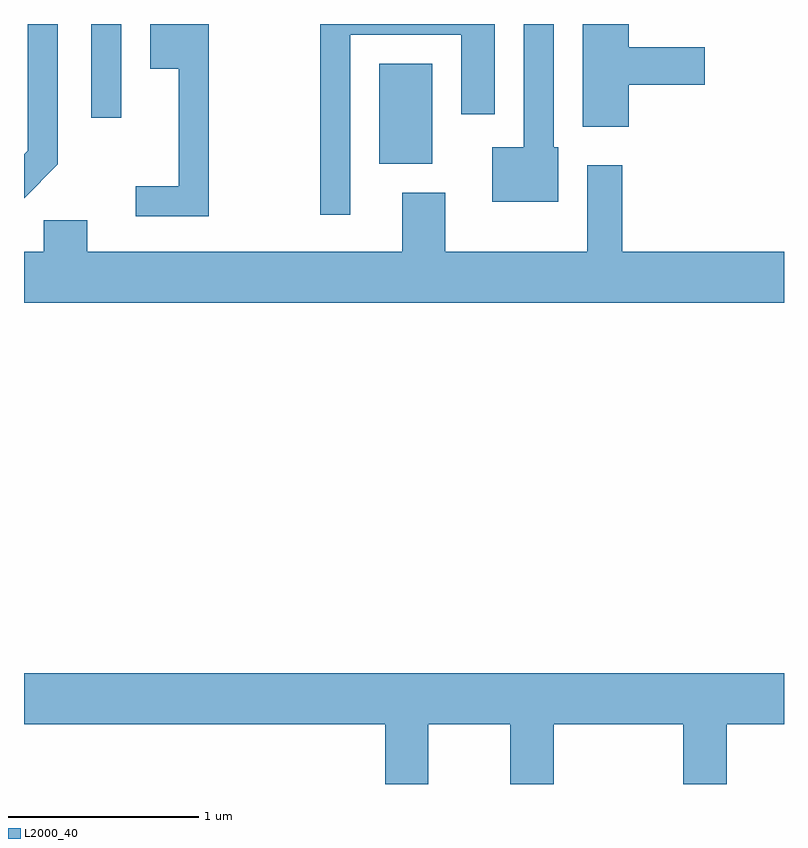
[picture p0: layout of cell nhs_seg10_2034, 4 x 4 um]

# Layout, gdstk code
import gdstk
lib = gdstk.Library(unit=1e-6, precision=1e-09)
def R(c, l, rs):  # rectangles x0, y0, x1, y1
    for r in rs: c.add(gdstk.rectangle(r[:2], r[2:], *l))
def P(c, l, *ps):  # polygons
    for p in ps: c.add(gdstk.Polygon(p, *l))
L2000_40 = (2000, 40)

nhs_seg10_2034 = lib.new_cell('nhs_seg10_2034')
R(nhs_seg10_2034, L2000_40, [(247.481,2085.786,247.759,2086.314), (245.966,2086.028,246.124,2086.522)])
P(nhs_seg10_2034, L2000_40, [(248.794,2086.201),(249.194,2086.201),(249.194,2086.399),(248.794,2086.399),(248.794,2086.522),(248.551,2086.522),(248.551,2085.981),(248.794,2085.981)],
  [(246.584,2086.522),(246.276,2086.522),(246.276,2086.286),(246.426,2086.286),(246.426,2085.669),(246.198,2085.669),(246.198,2085.511),(246.584,2085.511)],
  [(248.424,2085.874),(248.399,2085.874),(248.399,2086.522),(248.241,2086.522),(248.241,2085.874),(248.076,2085.874),(248.076,2085.586),(248.424,2085.586)],
  [(247.329,2086.466),(247.911,2086.466),(247.911,2086.046),(248.089,2086.046),(248.089,2086.522),(247.171,2086.522),(247.171,2085.518),(247.329,2085.518)],
  [(245.789,2085.784),(245.789,2086.522),(245.631,2086.522),(245.631,2085.856),(245.611,2085.836),(245.611,2085.605)],
  [(249.611,2085.324),(248.759,2085.324),(248.759,2085.779),(248.576,2085.779),(248.576,2085.324),(247.829,2085.324),(247.829,2085.634),(247.601,2085.634),(247.601,2085.324),(245.944,2085.324),(245.944,2085.489),(245.716,2085.489),(245.716,2085.324),(245.611,2085.324),(245.611,2085.056),(249.611,2085.056)],
  [(247.739,2082.836),(248.171,2082.836),(248.171,2082.522),(248.399,2082.522),(248.399,2082.836),(249.081,2082.836),(249.081,2082.522),(249.309,2082.522),(249.309,2082.836),(249.611,2082.836),(249.611,2083.104),(245.611,2083.104),(245.611,2082.836),(247.511,2082.836),(247.511,2082.522),(247.739,2082.522)])

lib.write_gds('nhs_seg10_2034.gds')
